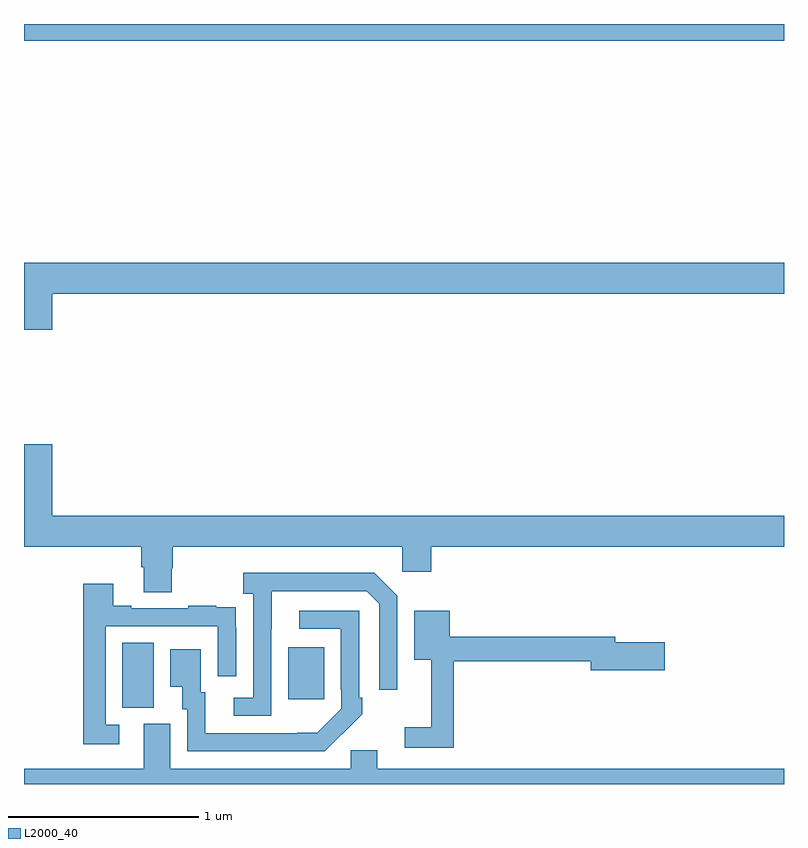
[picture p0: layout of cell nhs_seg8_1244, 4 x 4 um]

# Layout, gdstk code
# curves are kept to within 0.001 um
import gdstk
lib = gdstk.Library(unit=1e-6, precision=1e-09)
def R(c, l, rs):  # rectangles x0, y0, x1, y1
    for r in rs: c.add(gdstk.rectangle(r[:2], r[2:], *l))
def P(c, l, *ps):  # polygons
    for p in ps: c.add(gdstk.Polygon(p, *l))
L2000_40 = (2000, 40)

nhs_seg8_1244 = lib.new_cell('nhs_seg8_1244')
R(nhs_seg8_1244, L2000_40, [(189.518,1134.301,189.682,1134.644), (190.391,1134.345,190.579,1134.619), (189,1137.812,193,1137.9)])
P(nhs_seg8_1244, L2000_40, [(189.148,1136.48),(193,1136.48),(193,1136.644),(189,1136.644),(189,1136.292),(189.148,1136.292)],
  [(189.777,1135.035),(189.782,1135.035),(189.782,1135.148),(190.992,1135.148),(190.992,1135.017),(191.144,1135.017),(191.144,1135.148),(193,1135.148),(193,1135.312),(189.148,1135.312),(189.148,1135.687),(189,1135.687),(189,1135.148),(189.617,1135.148),(189.617,1135.042),(189.629,1135.042),(189.629,1134.91),(189.777,1134.91)],
  [(190.302,1134.715),(190.303,1134.915),(190.803,1134.915),(190.869,1134.849),(190.869,1134.396),(190.965,1134.396),(190.965,1134.891),(190.844,1135.012),(190.155,1135.012),(190.155,1134.902),(190.206,1134.902),(190.206,1134.354),(190.104,1134.354),(190.104,1134.258),(190.302,1134.258)],
  [(189.502,1134.213),(189.429,1134.213),(189.429,1134.729),(190.02,1134.729),(190.02,1134.468),(190.116,1134.468),(190.116,1134.722),(190.115,1134.722),(190.115,1134.831),(190.013,1134.831),(190.013,1134.838),(189.865,1134.838),(189.865,1134.825),(189.565,1134.825),(189.565,1134.838),(189.469,1134.838),(189.469,1134.955),(189.313,1134.955),(189.313,1134.108),(189.502,1134.108)],
  [(190.673,1134.163),(190.674,1134.162),(190.779,1134.267),(190.779,1134.355),(190.764,1134.355),(190.764,1134.813),(190.449,1134.813),(190.449,1134.717),(190.668,1134.717),(190.668,1134.397),(190.671,1134.397),(190.671,1134.297),(190.543,1134.169),(189.955,1134.168),(189.955,1134.384),(189.931,1134.384),(189.931,1134.61),(189.77,1134.61),(189.77,1134.413),(189.833,1134.413),(189.833,1134.294),(189.858,1134.294),(189.858,1134.072),(190.582,1134.072)],
  [(191.261,1134.547),(191.984,1134.547),(191.984,1134.5),(192.373,1134.5),(192.373,1134.647),(192.112,1134.647),(192.112,1134.676),(191.242,1134.676),(191.242,1134.811),(191.054,1134.811),(191.054,1134.554),(191.144,1134.554),(191.144,1134.199),(191.004,1134.199),(191.004,1134.09),(191.261,1134.09)],
  [(193,1133.98),(190.858,1133.98),(190.858,1134.078),(190.719,1134.078),(190.719,1133.98),(189.769,1133.98),(189.769,1134.216),(189.629,1134.216),(189.629,1133.98),(189,1133.98),(189,1133.9),(193,1133.9)])

lib.write_gds('nhs_seg8_1244.gds')
